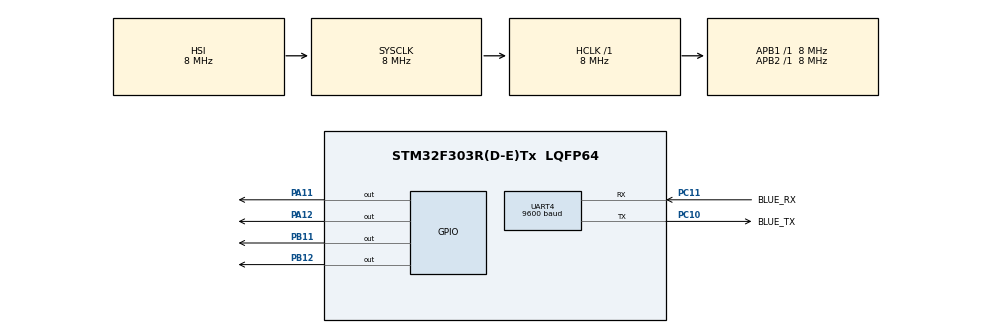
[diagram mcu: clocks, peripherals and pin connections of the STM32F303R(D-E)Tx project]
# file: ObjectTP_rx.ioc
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Mcu.Family=STM32F3
Mcu.Name=STM32F303R(D-E)Tx
Mcu.Package=LQFP64
NVIC.PriorityGroup=NVIC_PRIORITYGROUP_4
NVIC.UART4_IRQn=true\:0\:0\:false\:false\:true\:true\:true
PA11.Signal=GPIO_Output
PA12.Signal=GPIO_Output
PB11.Signal=GPIO_Output
PB12.Signal=GPIO_Output
PC10.GPIO_Label=BLUE_TX
PC10.Mode=Asynchronous
PC10.Signal=UART4_TX
PC11.GPIO_Label=BLUE_RX
PC11.Mode=Asynchronous
PC11.Signal=UART4_RX
PF0-OSC_IN.Mode=HSE-External-Oscillator
PF0-OSC_IN.Signal=RCC_OSC_IN
PF1-OSC_OUT.Mode=HSE-External-Oscillator
PF1-OSC_OUT.Signal=RCC_OSC_OUT
ProjectManager.HeapSize=0x200
ProjectManager.StackSize=0x400
ProjectManager.TargetToolchain=MDK-ARM V5
RCC.AHBFreq_Value=8000000
RCC.APB1Freq_Value=8000000
RCC.APB2Freq_Value=8000000
RCC.CortexFreq_Value=8000000
RCC.HSE_VALUE=8000000
RCC.HSI_VALUE=8000000
RCC.LSE_VALUE=32768
RCC.SYSCLKFreq_VALUE=8000000
RCC.USBFreq_Value=16000000
UART4.BaudRate=9600
board=custom

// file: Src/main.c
/* USER CODE BEGIN Header */
/**
  ******************************************************************************
  * @file           : main.c
  * @brief          : Main program body
  ******************************************************************************
  * @attention
  *
  * <h2><center>&copy; Copyright (c) 2019 STMicroelectronics.
  * All rights reserved.</center></h2>
  *
  * This software component is licensed by ST under BSD 3-Clause license,
  * the "License"; You may not use this file except in compliance with the
  * License. You may obtain a copy of the License at:
  *                        opensource.org/licenses/BSD-3-Clause
  *
  ******************************************************************************
  */
/* USER CODE END Header */

#include "main.h"

/* USER CODE BEGIN Includes */
#include <stdlib.h>
#include <stdbool.h>
#include <string.h>
#include <math.h>

/* USER CODE END Includes */

UART_HandleTypeDef huart4;

/* USER CODE BEGIN PV */
int Da=0,Db=0,Qa=0,Qb=0,Qa1=0;
uint8_t M;
uint8_t tx_data[1];
uint8_t rx_buff[8];

double test1,test2,max_steps;
int count_test;
int x = 0;

/* USER CODE END PV */

void SystemClock_Config(void);
static void MX_GPIO_Init(void);
static void MX_UART4_Init(void);

/* USER CODE BEGIN 0 */
void HAL_UART_RxCpltCallback(UART_HandleTypeDef *huart)
{
	HAL_UART_Receive(&huart4,rx_buff,sizeof rx_buff,100);
}

/* USER CODE END 0 */

int main(void)
{

  /* MCU Configuration--------------------------------------------------------*/

  /* Reset of all peripherals, Initializes the Flash interface and the Systick. */
  HAL_Init();

  /* Configure the system clock */
  SystemClock_Config();

  /* Initialize all configured peripherals */
  MX_GPIO_Init();
  MX_UART4_Init();

  /* Infinite loop */
  while (1)
  {

    /* USER CODE BEGIN 3 */
		HAL_UART_Receive_IT(&huart4,rx_buff,sizeof rx_buff);
		test1 = atof(rx_buff);
		if(test1<0){
			M = 0;//CCW
			test2 = fabs(test1);
			max_steps = (test2*400)/360;
			for(int step=0;step<max_steps;step++){
				Qa = Da;
				Qb = Db;
				Da = Qb ^ M;
				Qa1 = !Qa;
				Db = Qa1 ^ M;

				HAL_GPIO_WritePin(GPIOA,GPIO_PIN_12,Qa);//    PA12 digitalWrite OUT1 GREEN
				HAL_GPIO_WritePin(GPIOA,GPIO_PIN_11,!Qa);//   PA11 digitalWrite OUT2 BLACK
				HAL_GPIO_WritePin(GPIOB,GPIO_PIN_12,Qb);//    PB12 digitalWrite OUT3 BLUE
				HAL_GPIO_WritePin(GPIOB,GPIO_PIN_11,!Qb);//   PB11 digitalWrite OUT4 RED

				HAL_Delay(10);
			}
			memset(rx_buff,0,sizeof rx_buff);
		}else if(test1>0){
			M = 1;//CW
			max_steps = (test2*400)/360;
			test2 = fabs(test1);
			for(int step=0;step<max_steps;step++){
				Qa = Da;
				Qb = Db;
				Da = Qb ^ M;
				Qa1 = !Qa;
				Db = Qa1 ^ M;

				HAL_GPIO_WritePin(GPIOA,GPIO_PIN_12,Qa);//    PA12 digitalWrite OUT1 GREEN
				HAL_GPIO_WritePin(GPIOA,GPIO_PIN_11,!Qa);//   PA11 digitalWrite OUT2 BLACK
				HAL_GPIO_WritePin(GPIOB,GPIO_PIN_12,Qb);//    PB12 digitalWrite OUT3 BLUE
				HAL_GPIO_WritePin(GPIOB,GPIO_PIN_11,!Qb);//   PB11 digitalWrite OUT4 RED

				HAL_Delay(10);
				}
				memset(rx_buff,0,sizeof rx_buff);
			}
		HAL_Delay(300);
		//memset(rx_buff,0,sizeof rx_buff);
	}
  /* USER CODE END 3 */
}

void SystemClock_Config(void)
{
  RCC_OscInitTypeDef RCC_OscInitStruct = {0};
  RCC_ClkInitTypeDef RCC_ClkInitStruct = {0};
  RCC_PeriphCLKInitTypeDef PeriphClkInit = {0};

  /** Initializes the CPU, AHB and APB busses clocks
  */
  RCC_OscInitStruct.OscillatorType = RCC_OSCILLATORTYPE_HSI;
  RCC_OscInitStruct.HSIState = RCC_HSI_ON;
  RCC_OscInitStruct.HSICalibrationValue = RCC_HSICALIBRATION_DEFAULT;
  RCC_OscInitStruct.PLL.PLLState = RCC_PLL_NONE;
  if (HAL_RCC_OscConfig(&RCC_OscInitStruct) != HAL_OK)
  {
    Error_Handler();
  }
  /** Initializes the CPU, AHB and APB busses clocks
  */
  RCC_ClkInitStruct.ClockType = RCC_CLOCKTYPE_HCLK|RCC_CLOCKTYPE_SYSCLK
                              |RCC_CLOCKTYPE_PCLK1|RCC_CLOCKTYPE_PCLK2;
  RCC_ClkInitStruct.SYSCLKSource = RCC_SYSCLKSOURCE_HSI;
  RCC_ClkInitStruct.AHBCLKDivider = RCC_SYSCLK_DIV1;
  RCC_ClkInitStruct.APB1CLKDivider = RCC_HCLK_DIV1;
  RCC_ClkInitStruct.APB2CLKDivider = RCC_HCLK_DIV1;

  if (HAL_RCC_ClockConfig(&RCC_ClkInitStruct, FLASH_LATENCY_0) != HAL_OK)
  {
    Error_Handler();
  }
  PeriphClkInit.PeriphClockSelection = RCC_PERIPHCLK_UART4;
  PeriphClkInit.Uart4ClockSelection = RCC_UART4CLKSOURCE_PCLK1;
  if (HAL_RCCEx_PeriphCLKConfig(&PeriphClkInit) != HAL_OK)
  {
    Error_Handler();
  }
}

static void MX_UART4_Init(void)
{

  huart4.Instance = UART4;
  huart4.Init.BaudRate = 9600;
  huart4.Init.WordLength = UART_WORDLENGTH_8B;
  huart4.Init.StopBits = UART_STOPBITS_1;
  huart4.Init.Parity = UART_PARITY_NONE;
  huart4.Init.Mode = UART_MODE_TX_RX;
  huart4.Init.HwFlowCtl = UART_HWCONTROL_NONE;
  huart4.Init.OverSampling = UART_OVERSAMPLING_16;
  huart4.Init.OneBitSampling = UART_ONE_BIT_SAMPLE_DISABLE;
  huart4.AdvancedInit.AdvFeatureInit = UART_ADVFEATURE_NO_INIT;
  if (HAL_UART_Init(&huart4) != HAL_OK)
  {
    Error_Handler();
  }

}

static void MX_GPIO_Init(void)
{
  GPIO_InitTypeDef GPIO_InitStruct = {0};

  /* GPIO Ports Clock Enable */
  __HAL_RCC_GPIOF_CLK_ENABLE();
  __HAL_RCC_GPIOB_CLK_ENABLE();
  __HAL_RCC_GPIOA_CLK_ENABLE();
  __HAL_RCC_GPIOC_CLK_ENABLE();

  /*Configure GPIO pin Output Level */
  HAL_GPIO_WritePin(GPIOB, GPIO_PIN_11|GPIO_PIN_12, GPIO_PIN_RESET);

  /*Configure GPIO pin Output Level */
  HAL_GPIO_WritePin(GPIOA, GPIO_PIN_11|GPIO_PIN_12, GPIO_PIN_RESET);

  /*Configure GPIO pins : PB11 PB12 */
  GPIO_InitStruct.Pin = GPIO_PIN_11|GPIO_PIN_12;
  GPIO_InitStruct.Mode = GPIO_MODE_OUTPUT_PP;
  GPIO_InitStruct.Pull = GPIO_NOPULL;
  GPIO_InitStruct.Speed = GPIO_SPEED_FREQ_LOW;
  HAL_GPIO_Init(GPIOB, &GPIO_InitStruct);

  /*Configure GPIO pins : PA11 PA12 */
  GPIO_InitStruct.Pin = GPIO_PIN_11|GPIO_PIN_12;
  GPIO_InitStruct.Mode = GPIO_MODE_OUTPUT_PP;
  GPIO_InitStruct.Pull = GPIO_NOPULL;
  GPIO_InitStruct.Speed = GPIO_SPEED_FREQ_LOW;
  HAL_GPIO_Init(GPIOA, &GPIO_InitStruct);

}

void Error_Handler(void)
{
}

/************************ (C) COPYRIGHT STMicroelectronics *****END OF FILE****/
